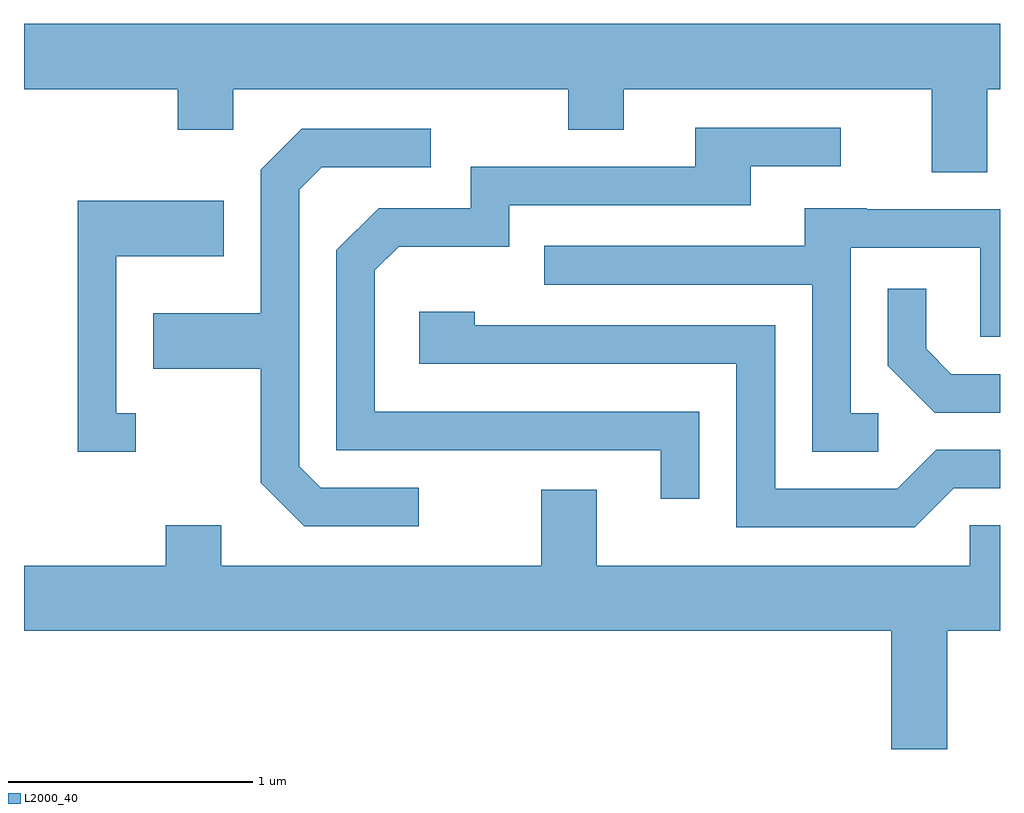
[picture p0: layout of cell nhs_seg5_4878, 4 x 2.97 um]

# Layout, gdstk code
import gdstk
lib = gdstk.Library(unit=1e-6, precision=1e-09)
def P(c, l, *ps):  # polygons
    for p in ps: c.add(gdstk.Polygon(p, *l))
L2000_40 = (2000, 40)

nhs_seg5_4878 = lib.new_cell('nhs_seg5_4878')
P(nhs_seg5_4878, L2000_40, [(333.559,1476.776),(333.611,1476.776),(333.611,1477.044),(329.611,1477.044),(329.611,1476.776),(330.241,1476.776),(330.241,1476.611),(330.469,1476.611),(330.469,1476.776),(331.841,1476.776),(331.841,1476.611),(332.069,1476.611),(332.069,1476.776),(333.331,1476.776),(333.331,1476.436),(333.559,1476.436)],
  [(332.379,1475.454),(331.049,1475.454),(331.049,1476.034),(331.147,1476.131),(331.599,1476.131),(331.599,1476.301),(332.589,1476.301),(332.589,1476.461),(332.958,1476.461),(332.958,1476.619),(332.361,1476.619),(332.361,1476.459),(331.441,1476.459),(331.441,1476.289),(331.064,1476.289),(330.891,1476.117),(330.891,1475.296),(332.221,1475.296),(332.221,1475.098),(332.379,1475.098)],
  [(331.228,1475.144),(330.827,1475.144),(330.739,1475.232),(330.739,1476.364),(330.832,1476.456),(331.278,1476.456),(331.278,1476.614),(330.749,1476.614),(330.581,1476.447),(330.581,1475.859),(330.141,1475.859),(330.141,1475.631),(330.581,1475.631),(330.581,1475.164),(330.759,1474.986),(331.228,1474.986)],
  [(330.068,1475.449),(329.989,1475.449),(329.989,1476.091),(330.429,1476.091),(330.429,1476.319),(329.831,1476.319),(329.831,1475.291),(330.068,1475.291)],
  [(333.113,1475.449),(332.999,1475.449),(332.999,1476.126),(333.531,1476.126),(333.531,1475.761),(333.611,1475.761),(333.611,1476.284),(333.065,1476.284),(333.065,1476.289),(332.811,1476.289),(332.811,1476.134),(331.743,1476.134),(331.743,1475.976),(332.841,1475.976),(332.841,1475.291),(333.113,1475.291)],
  [(333.611,1475.609),(333.412,1475.609),(333.309,1475.712),(333.309,1475.958),(333.151,1475.958),(333.151,1475.644),(333.344,1475.451),(333.611,1475.451)],
  [(333.422,1475.141),(333.611,1475.141),(333.611,1475.299),(333.349,1475.299),(333.189,1475.139),(332.689,1475.139),(332.689,1475.809),(331.459,1475.809),(331.459,1475.864),(331.231,1475.864),(331.231,1475.651),(332.531,1475.651),(332.531,1474.981),(333.262,1474.981)],
  [(333.394,1474.556),(333.611,1474.556),(333.611,1474.989),(333.486,1474.989),(333.486,1474.824),(331.959,1474.824),(331.959,1475.134),(331.731,1475.134),(331.731,1474.824),(330.419,1474.824),(330.419,1474.989),(330.191,1474.989),(330.191,1474.824),(329.611,1474.824),(329.611,1474.556),(333.166,1474.556),(333.166,1474.072),(333.394,1474.072)])

lib.write_gds('nhs_seg5_4878.gds')
